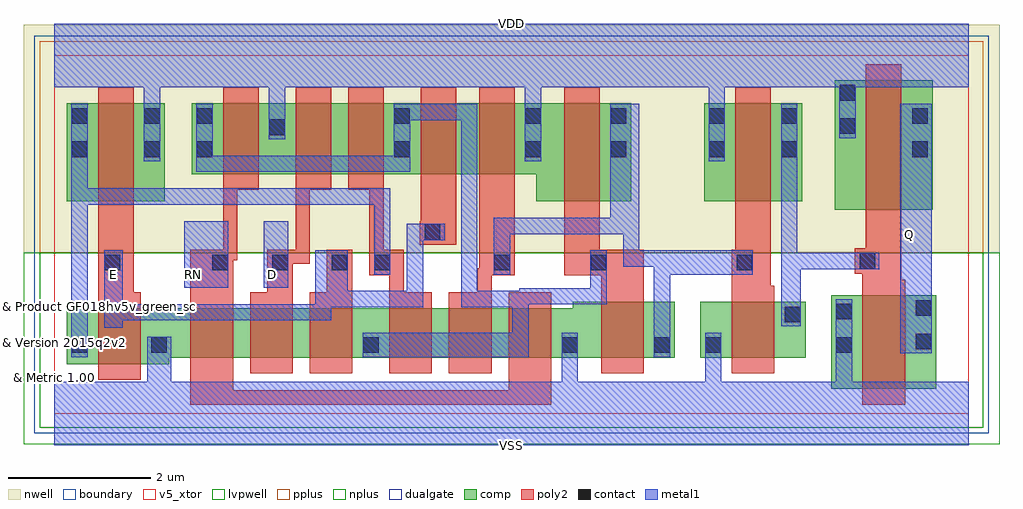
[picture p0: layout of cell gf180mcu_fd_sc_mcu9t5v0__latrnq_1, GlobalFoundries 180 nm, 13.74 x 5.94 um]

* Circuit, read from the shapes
.subckt gf180mcu_fd_sc_mcu9t5v0__latrnq_1 D E Q RN VDD VSS
XM1 VSS E n1 VSUBS nfet_05v0 w=0.79u l=0.6u
XM2 n2 RN VSS VSUBS nfet_05v0 w=0.7u l=0.6u
XM3 n3 D n2 VSUBS nfet_05v0 w=0.7u l=0.6u
XM4 n4 E n3 VSUBS nfet_05v0 w=0.7u l=0.6u
XM5 n5 n1 n4 VSUBS nfet_05v0 w=0.7u l=0.6u
XM6 n6 n7 n5 VSUBS nfet_05v0 w=0.7u l=0.6u
XM7 VSS RN n6 VSUBS nfet_05v0 w=0.7u l=0.6u
XM8 n7 n4 VSS VSUBS nfet_05v0 w=0.79u l=0.6u
XM9 n8 n7 VSS VSUBS nfet_05v0 w=0.79u l=0.6u
XM10 Q n8 VSS VSUBS nfet_05v0 w=1.32u l=0.6u
XM11 VDD E n1 n9 pfet_05v0 w=1.38u l=0.5u
XM12 VDD RN n4 n9 pfet_05v0 w=1u l=0.5u
XM13 n10 D VDD n9 pfet_05v0 w=1u l=0.5u
XM14 n4 n1 n10 n9 pfet_05v0 w=1u l=0.5u
XM15 n11 E n4 n9 pfet_05v0 w=1u l=0.5u
XM16 VDD n7 n11 n9 pfet_05v0 w=1u l=0.5u
XM17 n7 n4 VDD n9 pfet_05v0 w=1.38u l=0.5u
XM18 n8 n7 VDD n9 pfet_05v0 w=1.38u l=0.5u
XM19 Q n8 VDD n9 pfet_05v0 w=1.83u l=0.5u
.ends

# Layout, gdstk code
import gdstk
lib = gdstk.Library(unit=1e-6, precision=1e-09)
def R(c, l, rs):  # rectangles x0, y0, x1, y1
    for r in rs: c.add(gdstk.rectangle(r[:2], r[2:], *l))
def A(c, l, x, y, w, h, nx, ny, dx, dy):  # array of equal rectangles
    R(c, l, [(x+i*dx, y+j*dy, x+i*dx+w, y+j*dy+h) for i in range(nx) for j in range(ny)])
def P(c, l, *ps):  # polygons
    for p in ps: c.add(gdstk.Polygon(p, *l))
boundary = (0, 0)
nwell = (21, 0)
comp = (22, 0)
poly2 = (30, 0)
pplus = (31, 0)
nplus = (32, 0)
contact = (33, 0)
metal1 = (34, 0)
dualgate = (55, 0)
v5_xtor = (112, 1)
lvpwell = (204, 0)

gf180mcu_fd_sc_mcu9t5v0_ = lib.new_cell('gf180mcu_fd_sc_mcu9t5v0__latrnq_1')
R(gf180mcu_fd_sc_mcu9t5v0_, boundary, [(0,0,12.88,5.04)])
R(gf180mcu_fd_sc_mcu9t5v0_, nwell, [(-0.43,2.265,13.31,5.47)])
R(gf180mcu_fd_sc_mcu9t5v0_, comp, [(10.94,0.345,12.42,1.665), (9.1,0.785,10.58,1.575), (10.99,2.865,12.37,4.695), (0.18,2.99,1.56,4.37), (9.15,2.99,10.53,4.37)])
P(gf180mcu_fd_sc_mcu9t5v0_, comp, [(6.785,2.99),(6.785,3.37),(1.94,3.37),(1.94,4.37),(8.125,4.37),(8.125,2.99)],
  [(0.18,0.695),(0.18,1.485),(7.3,1.485),(7.3,1.575),(8.74,1.575),(8.74,0.785),(1.62,0.785),(1.62,0.695)])
P(gf180mcu_fd_sc_mcu9t5v0_, poly2, [(0.62,0.475),(0.62,4.59),(1.12,4.59),(1.12,1.705),(1.22,1.705),(1.22,0.475)],
  [(2.76,0.565),(2.76,1.705),(3,1.705),(3,2.305),(3.4,2.305),(3.4,4.59),(3.9,4.59),(3.9,3.15),(3.6,3.15),(3.6,2.105),(3.36,2.105),(3.36,0.565)],
  [(3.6,0.565),(3.6,1.705),(3.84,1.705),(3.84,2.305),(4.2,2.305),(4.2,0.565)],
  [(4.72,0.565),(4.72,1.945),(4.44,1.945),(4.44,3.15),(4.14,3.15),(4.14,4.59),(4.64,4.59),(4.64,2.305),(4.92,2.305),(4.92,1.705),(5.32,1.705),(5.32,0.565)],
  [(5.15,2.375),(5.15,2.705),(5.16,2.705),(5.16,4.59),(5.66,4.59),(5.66,2.375)],
  [(5.56,0.565),(5.56,1.705),(5.96,1.705),(5.96,2.045),(5.985,2.045),(5.985,4.59),(6.485,4.59),(6.485,1.945),(6.16,1.945),(6.16,0.565)],
  [(1.92,0.125),(1.92,2.305),(2.38,2.305),(2.38,4.59),(2.88,4.59),(2.88,3.15),(2.58,3.15),(2.58,2.16),(2.52,2.16),(2.52,0.325),(6.4,0.325),(6.4,1.705),(7,1.705),(7,0.125)],
  [(7.7,0.565),(7.7,1.945),(7.185,1.945),(7.185,4.59),(7.685,4.59),(7.685,2.305),(8.3,2.305),(8.3,0.565)],
  [(9.54,0.565),(9.54,2.305),(9.59,2.305),(9.59,4.59),(10.09,4.59),(10.09,1.795),(10.14,1.795),(10.14,0.565)],
  [(11.38,0.125),(11.38,1.965),(11.27,1.965),(11.27,2.325),(11.43,2.325),(11.43,4.915),(11.93,4.915),(11.93,1.885),(11.98,1.885),(11.98,0.125)])
R(gf180mcu_fd_sc_mcu9t5v0_, pplus, [(-0.2,2.265,13.08,5.24)])
R(gf180mcu_fd_sc_mcu9t5v0_, nplus, [(-0.2,-0.2,13.08,2.265)])
A(gf180mcu_fd_sc_mcu9t5v0_, contact, 2.23, 2.015, 0.22, 0.22, 3, 1, 0.84, 0)
R(gf180mcu_fd_sc_mcu9t5v0_, contact, [(0.25,0.855,0.47,1.075), (1.37,0.855,1.59,1.075), (4.35,0.855,4.57,1.075), (7.15,0.855,7.37,1.075), (8.45,0.855,8.67,1.075), (9.17,0.855,9.39,1.075), (11.01,0.855,11.23,1.075), (12.13,0.905,12.35,1.125), (10.29,1.285,10.51,1.505), (11.01,1.325,11.23,1.545), (12.13,1.375,12.35,1.595), (0.71,2.015,0.93,2.235), (4.51,2.015,4.73,2.235), (6.195,2.015,6.415,2.235), (7.555,2.015,7.775,2.235), (9.61,2.015,9.83,2.235), (11.34,2.035,11.56,2.255), (5.22,2.445,5.44,2.665), (0.25,3.61,0.47,3.83), (1.27,3.61,1.49,3.83), (2.01,3.61,2.23,3.83), (4.79,3.61,5.01,3.83), (6.635,3.61,6.855,3.83), (7.835,3.61,8.055,3.83), (9.22,3.61,9.44,3.83), (10.24,3.61,10.46,3.83), (12.08,3.61,12.3,3.83), (3.03,3.92,3.25,4.14), (11.06,3.935,11.28,4.155), (0.25,4.08,0.47,4.3), (1.27,4.08,1.49,4.3), (2.01,4.08,2.23,4.3), (4.79,4.08,5.01,4.3), (6.635,4.08,6.855,4.3), (7.835,4.08,8.055,4.3), (9.22,4.08,9.44,4.3), (10.24,4.08,10.46,4.3), (12.08,4.08,12.3,4.3), (11.06,4.405,11.28,4.625)])
R(gf180mcu_fd_sc_mcu9t5v0_, metal1, [(11.91,0.845,12.355,4.36), (1.83,1.77,2.455,2.71), (2.95,1.77,3.295,2.71)])
P(gf180mcu_fd_sc_mcu9t5v0_, metal1, [(0.245,0.795),(0.245,4.36),(0.475,4.36),(0.475,3.17),(4.735,3.17),(4.735,1.955),(4.505,1.955),(4.505,2.94),(0.475,2.94),(0.475,0.795)],
  [(0.705,1.21),(0.705,2.295),(0.97,2.295),(0.97,1.54),(3.675,1.54),(3.675,2.295),(4.135,2.295),(4.135,1.725),(4.965,1.725),(4.965,2.67),(5.5,2.67),(5.5,2.44),(5.195,2.44),(5.195,1.495),(3.905,1.495),(3.905,1.31),(0.97,1.31),(0.97,1.21)],
  [(4.345,0.795),(4.345,1.135),(6.45,1.135),(6.45,1.495),(5.73,1.495),(5.73,4.13),(5.015,4.13),(5.015,3.4),(2.005,3.4),(2.005,4.36),(2.235,4.36),(2.235,3.63),(4.785,3.63),(4.785,4.36),(5.96,4.36),(5.96,1.725),(6.55,1.725),(6.55,1.765),(7.55,1.765),(7.55,2.295),(7.78,2.295),(7.78,1.535),(6.68,1.535),(6.68,0.795)],
  [(8.445,0.795),(8.445,2.065),(8.01,2.065),(8.01,2.525),(6.42,2.525),(6.42,1.955),(6.19,1.955),(6.19,2.755),(7.83,2.755),(7.83,4.36),(8.24,4.36),(8.24,2.295),(9.835,2.295),(9.835,1.955),(8.675,1.955),(8.675,0.795)],
  [(10.235,1.225),(10.235,4.36),(10.465,4.36),(10.465,2.26),(11.62,2.26),(11.62,2.03),(10.515,2.03),(10.515,1.225)],
  [(0,-0.45),(0,0.45),(1.31,0.45),(1.31,1.08),(1.65,1.08),(1.65,0.45),(7.145,0.45),(7.145,1.135),(7.375,1.135),(7.375,0.45),(9.165,0.45),(9.165,1.135),(9.395,1.135),(9.395,0.45),(11.005,0.45),(11.005,1.605),(11.235,1.605),(11.235,0.45),(12.88,0.45),(12.88,-0.45)],
  [(1.265,3.55),(1.265,4.59),(0,4.59),(0,5.49),(12.88,5.49),(12.88,4.59),(11.285,4.59),(11.285,3.875),(11.055,3.875),(11.055,4.59),(9.445,4.59),(9.445,3.55),(9.215,3.55),(9.215,4.59),(6.86,4.59),(6.86,3.55),(6.63,3.55),(6.63,4.59),(3.255,4.59),(3.255,3.86),(3.025,3.86),(3.025,4.59),(1.495,4.59),(1.495,3.55)])
R(gf180mcu_fd_sc_mcu9t5v0_, dualgate, [(-0.28,-0.28,13.16,5.32)])
R(gf180mcu_fd_sc_mcu9t5v0_, v5_xtor, [(0,0,12.88,5.04)])
R(gf180mcu_fd_sc_mcu9t5v0_, lvpwell, [(-0.43,-0.43,13.31,2.265)])
gf180mcu_fd_sc_mcu9t5v0_.add(gdstk.Label('D', (3.08,1.96), layer=34, texttype=10))
gf180mcu_fd_sc_mcu9t5v0_.add(gdstk.Label('E', (0.84,1.96), layer=34, texttype=10))
gf180mcu_fd_sc_mcu9t5v0_.add(gdstk.Label('Q', (12.04,2.52), layer=34, texttype=10))
gf180mcu_fd_sc_mcu9t5v0_.add(gdstk.Label('RN', (1.96,1.96), layer=34, texttype=10))
gf180mcu_fd_sc_mcu9t5v0_.add(gdstk.Label('VDD', (6.44,5.49), layer=34, texttype=10))
gf180mcu_fd_sc_mcu9t5v0_.add(gdstk.Label('VSS', (6.44,-0.45), layer=34, texttype=10))
gf180mcu_fd_sc_mcu9t5v0_.add(gdstk.Label('& Vendor GLOBALFOUNDRIES', (0,2), layer=63, texttype=63))
gf180mcu_fd_sc_mcu9t5v0_.add(gdstk.Label('& Product GF018hv5v_green_sc9', (0,1.5), layer=63, texttype=63))
gf180mcu_fd_sc_mcu9t5v0_.add(gdstk.Label('& Version 2015q2v2', (0,1), layer=63, texttype=63))
gf180mcu_fd_sc_mcu9t5v0_.add(gdstk.Label('& Metric 1.00', (0,0.5), layer=63, texttype=63))

lib.write_gds('gf180mcu_fd_sc_mcu9t5v0__latrnq_1.gds')
